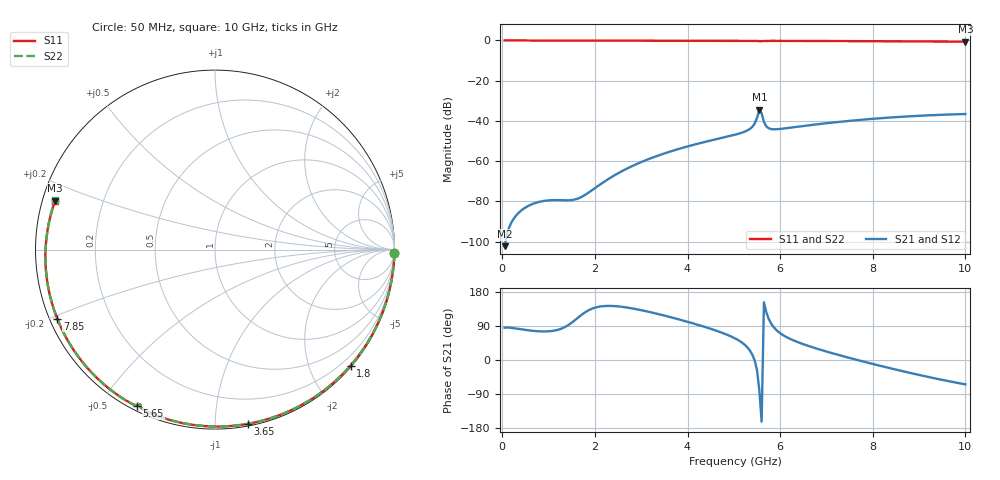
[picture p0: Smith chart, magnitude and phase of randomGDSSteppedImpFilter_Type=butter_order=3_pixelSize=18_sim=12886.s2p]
! freq	dB(S11)	phase(S11)	dB(S12)	phase(S12)
!  dB(S21)	phase(S21)	dB(S22)	phase(S22)
!S-par simulation data
#  GHz  S  DB  R 50
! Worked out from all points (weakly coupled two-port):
!   200 points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, 50 MHz to 10 GHz, reference 50 ohm
!   highest |S21| = -34.48 dB at 5.55 GHz (marker M1); lowest = -102.3 dB at 50 MHz (marker M2)
!   lowest |S11| = -0.6 dB at 10 GHz (marker M3), VSWR 28.18, Z = 1.81 + j7.49 ohm
!   |S11| at or under -10 dB: nowhere
!   |S22| runs from -0.6 to 0.0 dB; largest |S21 - S12| = 0
!   S11 on the Smith chart (normalised r, x): 50 MHz: open; 1.8 GHz: 0.02, -2.71; 3.65 GHz: 0.01, -1.21; 5.65 GHz: 0.02, -0.62; 7.85 GHz: 0.02, -0.21; 10 GHz: 0.04, +0.15
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0.05  -0.00 -1.1  -102.31 85.2  -102.31 85.2  -0.00 -1.1
0.75  -0.02 -17.1  -80.56 76.0  -80.56 76.0  -0.02 -17.1
1.45  -0.04 -32.8  -79.48 94.1  -79.48 94.1  -0.04 -32.8
1.75  -0.05 -39.5  -77.33 122.6  -77.33 122.6  -0.05 -39.5
1.8  -0.05 -40.5  -76.64 126.7  -76.64 126.7  -0.05 -40.6
2.55  -0.07 -56.7  -65.42 140.9  -65.42 140.9  -0.07 -56.7
3.4  -0.10 -74.2  -56.97 120.3  -56.97 120.3  -0.10 -74.2
3.65  -0.11 -79.2  -55.07 112.5  -55.07 112.5  -0.11 -79.2
5.05  -0.16 -106.2  -46.71 55.5  -46.71 55.5  -0.16 -106.2
5.25  -0.17 -110.0  -45.20 38.5  -45.20 38.5  -0.17 -110.0
5.4  -0.19 -112.9  -42.93 13.9  -42.93 13.9  -0.19 -112.9
5.5  -0.23 -115.1  -38.60 -26.4  -38.60 -26.4  -0.23 -115.1
5.55  -0.38 -115.9  -34.48 -79.7  -34.48 -79.7  -0.37 -116.0
5.6  -0.33 -115.5  -36.21 -162.7  -36.21 -162.7  -0.33 -115.6
5.65  -0.24 -116.5  -40.50 152.3  -40.50 152.3  -0.24 -116.6
5.75  -0.21 -118.6  -43.65 109.4  -43.65 109.4  -0.21 -118.6
5.85  -0.21 -120.5  -44.18 88.4  -44.18 88.4  -0.21 -120.5
6.7  -0.26 -135.9  -41.96 33.5  -41.96 33.5  -0.26 -135.9
7.85  -0.36 -156.4  -39.26 -5.8  -39.26 -5.8  -0.36 -156.4
8.35  -0.41 -165.5  -38.37 -21.0  -38.37 -21.0  -0.41 -165.5
9.2  -0.51 178.7  -37.24 -44.8  -37.24 -44.8  -0.51 178.7
10  -0.62 162.9  -36.58 -64.4  -36.58 -64.4  -0.62 162.9
